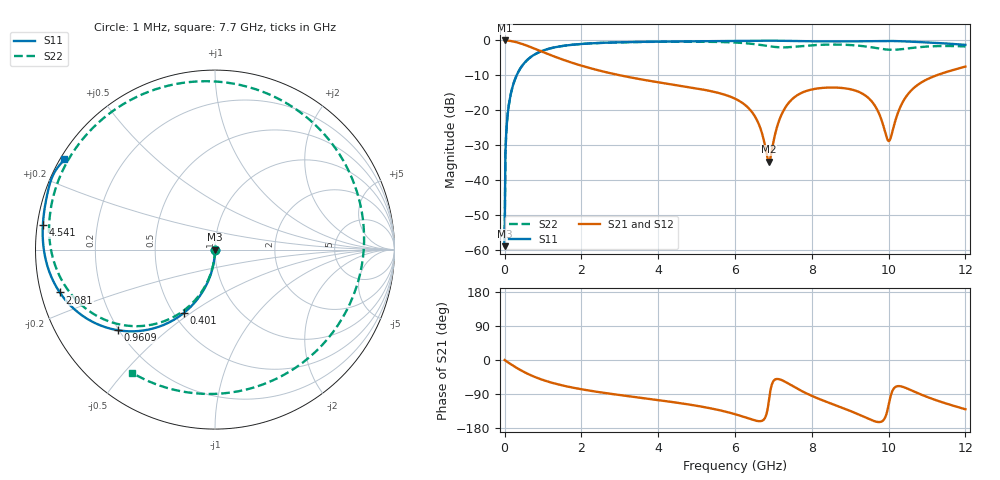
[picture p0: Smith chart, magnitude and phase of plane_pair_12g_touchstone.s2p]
! Touchstone file exported from Ansys Full-Wave Spice
! Project: 0000
!  Design: unknown
! Creation time: Tue Jul 21 02:52:19 2026
! Notes: Touchstone(R) file created by SIwave 2026 R1
!  : Touchstone(R) file created on Tue Jul 21 02:52:19 2026
!  : Design: Cell_4ZWV3U
!  : Path:
!  : *** SIwave SYZ Simulation Settings ***
!  : SI/PI Main
!  :  SI Simulation -  Balanced
!  : SI/PI Advanced
!  :  Coupling
!  :  Coplane: On
!  :  Intra-plane: Off
!  :  Split-plane: On
!  :  Cavity field: On
!  :  Trace: On
!  :  Cross-talk threshold: -34dB
!  :  Max. coupled lines: 12
!  :  Geometry Processing
!  :  Void area threshold: 2mm^2
!  :  Pad area threshold: 1mm^2
!  :  Planes area threshold: 6.25E-06mm^2
!  :  Vertex snap distance threshold: 0.0025mm
!  :  Mesh Refinement
!  :  Auto
!  :  AC/DC Merge
!  :  Default
!  :  Trace return current distribution: Off
!  :  Include voltage/current source parasitics: No
!  :  Add infinite ground plane: No
!  :  Exclude non-functional pads: Yes
!  : Temperature
!  :  Uniform distribution: 20cel
!  : Net Processing
!  :  Auto select nets
!  : S-parameter Modeling
!  :  State Space Model
!  : Sweep
!  :  Name: frequency_sweep
!  :  AC/DC Merge: Off
!  :  Interpolating Sweep
!  :  Relative error for S: 0.005
!  :  Frequency Point Distribution:
!  :  Linear: 1E+06Hz -> 1.2E+10Hz 601 pts
!  :  Enforce Causality: No
!  :  Enforce Passivity: Yes
!  :  Q3D Regions: Off
!  :  HFSS Regions: Off
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# HZ S RI R 50
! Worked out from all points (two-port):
!   601 points, 1 MHz to 12 GHz, reference 50 ohm
!   highest |S21| = 0.00 dB at 1 MHz (marker M1); lowest = -34.7 dB at 6.88 GHz (marker M2)
!   |S21| within 3 dB of the highest: start of sweep to 928.9 MHz
!   lowest |S11| = -58.8 dB at 1 MHz (marker M3), VSWR 1.00, Z = 50 - j0.115 ohm
!   |S11| at or under -10 dB: start of sweep to 313.3 MHz
!   |S22| runs from -58.8 to -0.3 dB; largest |S21 - S12| = 0
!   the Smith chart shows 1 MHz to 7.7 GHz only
!   S11 on the Smith chart (normalised r, x): 1 MHz: 1.00, -0.00; 401 MHz: 0.57, -0.47; 960.9 MHz: 0.20, -0.35; 2.081 GHz: 0.06, -0.14; 4.541 GHz: 0.02, +0.07; 7.7 GHz: 0.01, +0.28
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1000000  -8.91e-06 -0.00115  1 -0.00128  1 -0.00128  -9.01e-06 -0.00115
1.009917e8  -0.0149 -0.108  0.9845 -0.1202  0.9845 -0.1202  -0.0158 -0.1078
4.009667e8  -0.1714 -0.3512  0.8216 -0.3968  0.8216 -0.3968  -0.1826 -0.3454
9.6092e8  -0.541 -0.4493  0.4348 -0.544  0.4348 -0.544  -0.5741 -0.4055
2.000833e9  -0.8535 -0.2547  0.0968 -0.4255  0.0968 -0.4255  -0.8845 -0.1042
2.080827e9  -0.8646 -0.2388  0.0837 -0.4153  0.0837 -0.4153  -0.8934 -0.0794
4.000667e9  -0.9596 0.0673  -0.0688 -0.243  -0.0688 -0.243  -0.8317 0.4741
4.540622e9  -0.9592 0.1354  -0.0902 -0.2081  -0.0902 -0.2081  -0.726 0.6289
6.0005e9  -0.9353 0.3048  -0.1176 -0.0887  -0.1176 -0.0887  0.0421 0.9332
6.460462e9  -0.9222 0.3599  -0.0851 -0.0347  -0.0851 -0.0347  0.5476 0.705
6.880427e9  -0.9028 0.4142  -0.00604 -0.0174  -0.00604 -0.0174  0.8287 0.00144
7.300392e9  -0.8711 0.4645  0.0585 -0.0904  0.0585 -0.0904  0.2992 -0.7386
7.700358e9  -0.8388 0.5022  0.0308 -0.172  0.0308 -0.172  -0.4616 -0.6864
8.000333e9  -0.8168 0.5283  -0.0159 -0.1987  -0.0159 -0.1987  -0.7719 -0.3633
8.64028e9  -0.7712 0.5869  -0.1068 -0.1832  -0.1068 -0.1832  -0.7939 0.363
9.280227e9  -0.7212 0.6539  -0.1485 -0.0988  -0.1485 -0.0988  -0.1816 0.8162
9.640197e9  -0.686 0.7002  -0.1117 -0.0369  -0.1117 -0.0369  0.3987 0.6753
1.000017e10  -0.6345 0.7514  -0.0178 -0.0319  -0.0178 -0.0319  0.7383 0.0269
1.034014e10  -0.5683 0.7908  0.0421 -0.1155  0.0421 -0.1155  0.4454 -0.6036
1.064011e10  -0.5048 0.8141  0.0282 -0.2036  0.0282 -0.2036  -0.0276 -0.7848
1.124006e10  -0.3709 0.8438  -0.0884 -0.3037  -0.0884 -0.3037  -0.6383 -0.5295
1.2e10  -0.1644 0.8481  -0.2724 -0.324  -0.2724 -0.324  -0.8196 -0.0601
